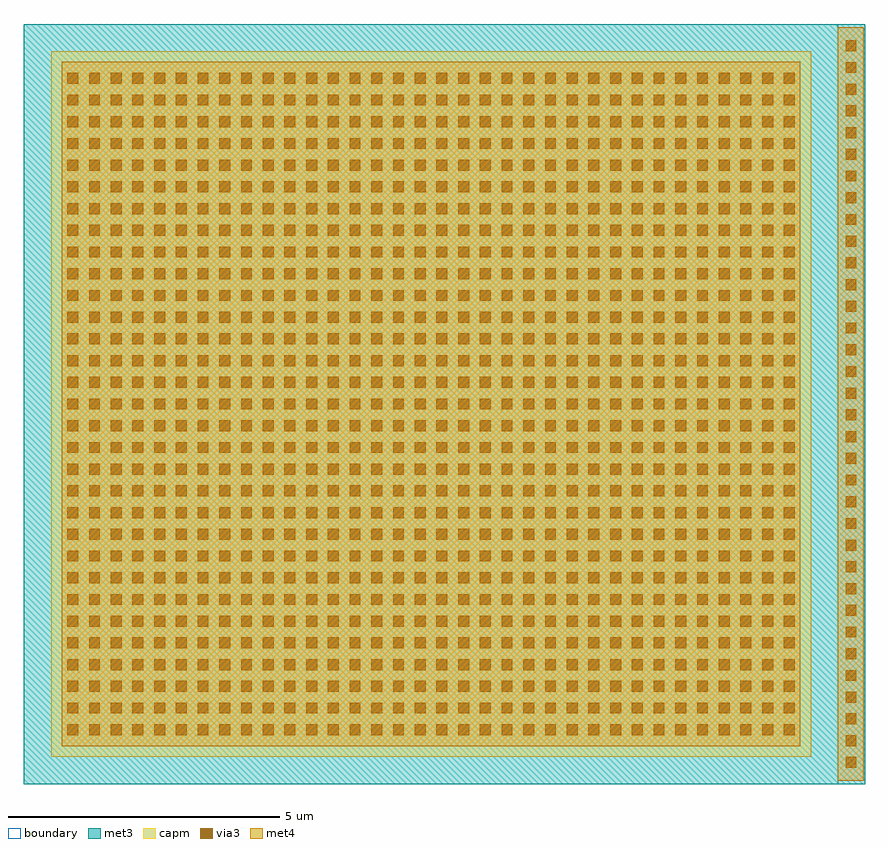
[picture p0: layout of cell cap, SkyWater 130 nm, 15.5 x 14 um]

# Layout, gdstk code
import gdstk
lib = gdstk.Library(unit=1e-6, precision=1e-09)
def R(c, l, rs):  # rectangles x0, y0, x1, y1
    for r in rs: c.add(gdstk.rectangle(r[:2], r[2:], *l))
def A(c, l, x, y, w, h, nx, ny, dx, dy):  # array of equal rectangles
    R(c, l, [(x+i*dx, y+j*dy, x+i*dx+w, y+j*dy+h) for i in range(nx) for j in range(ny)])
met3 = (70, 20)
via3 = (70, 44)
met4 = (71, 20)
capm = (89, 44)
boundary = (235, 4)

cap = lib.new_cell('cap')
R(cap, met3, [(0,0,15.495,14)])
A(cap, via3, 15.135, 0.3, 0.2, 0.2, 1, 34, 0, 0.4)
A(cap, via3, 0.8, 0.9, 0.2, 0.2, 34, 31, 0.4, 0.4)
R(cap, met4, [(14.995,0.06,15.475,13.94), (0.695,0.695,14.305,13.305)])
R(cap, capm, [(0.5,0.5,14.5,13.5)])
R(cap, boundary, [(0,0,15,14)])

lib.write_gds('cap.gds')
